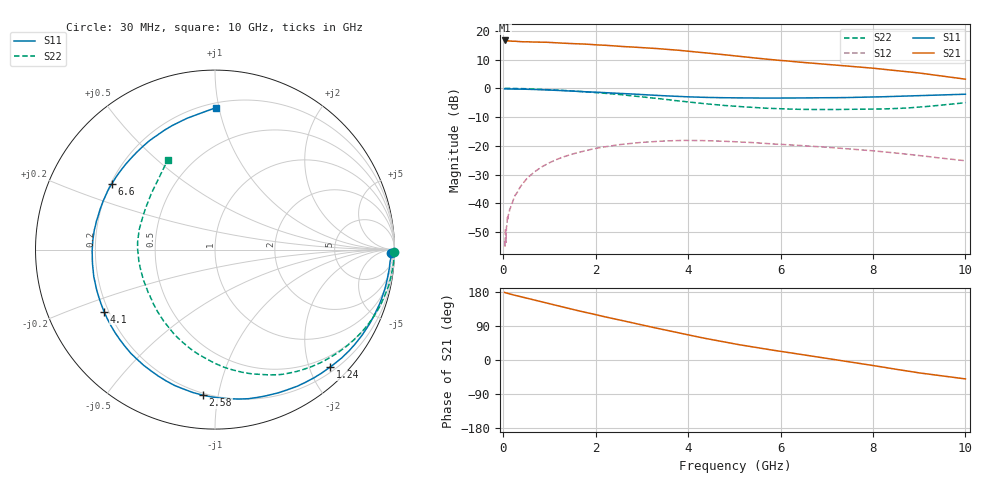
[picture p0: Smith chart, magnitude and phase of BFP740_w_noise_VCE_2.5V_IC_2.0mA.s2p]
! Infineon Technologies  Discrete & RF Semiconductors
! BFP740
! VCE =  2.5 V,  IC =  2.0 mA
! Common Emitter S-Parameters:  Jan 2016
# GHz  S  MA  R  50
!  f  S11  S21  S12  S22
! GHz  MAG  ANG  MAG  ANG  MAG  ANG  MAG  ANG
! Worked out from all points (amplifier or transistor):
!   229 points, 30 MHz to 10 GHz, reference 50 ohm
!   highest |S21| = 16.7 dB at 30 MHz (marker M1)
!   |S21| within 3 dB of that: start of sweep to 3.465 GHz
!   unconditionally stable (mu >= 1): 8.532 GHz to end of sweep
!   at 280 MHz: K = 0.05, MSG = 26.5 dB, |S12| = -36.7 dB
!   at 1.78 GHz: K = 0.17, MSG = 18.5 dB, |S12| = -21.7 dB
!   at 10 GHz: K = 1.31, MAG = 10.8 dB, |S12| = -25.2 dB
!   lowest NFmin = 0.46 dB at 450 MHz
!   S11 on the Smith chart (normalised r, x): 30 MHz: 52, -49; 1.24 GHz: 0.29, -2.35; 2.58 GHz: 0.19, -0.90; 4.1 GHz: 0.18, -0.25; 6.6 GHz: 0.20, +0.28; 10 GHz: 0.23, +0.98
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0.03  0.9797 -1.1  6.814 178.3  0.0022 83.9  0.9988 -0.8
0.04  0.98 -1.5  6.601 177.9  0.0018 89.0  0.9999 -1.1
0.05  0.9813 -1.8  6.724 177.8  0.0037 93.5  0.9985 -1.3
0.06  0.9801 -2.2  6.69 177.2  0.0021 82.0  0.9988 -1.6
0.07  0.9794 -2.6  6.706 176.9  0.0039 79.1  1 -1.9
0.09  0.9792 -3.4  6.67 176.1  0.0057 92.2  0.9996 -2.4
0.14  0.977 -5.2  6.638 174.4  0.0079 87.1  0.9978 -3.7
0.38  0.97 -14.1  6.501 166.9  0.0199 80.7  0.9898 -9.9
0.9  0.9431 -33.3  6.37 151.2  0.0462 66.2  0.9591 -23.2
1.24  0.9165 -45.6  6.144 140.9  0.0616 57.1  0.9277 -31.8
1.7  0.8791 -62.7  5.946 127.8  0.0795 45.7  0.8787 -43.1
2.2  0.843 -81.0  5.624 114.0  0.0962 33.8  0.8201 -55.6
2.58  0.8136 -94.7  5.358 103.9  0.1064 25.2  0.7722 -64.6
3.4  0.7494 -125.5  4.874 81.9  0.1207 7.3  0.6587 -85.3
4.1  0.7081 -150.8  4.359 63.8  0.1241 -7.2  0.5693 -103.9
4.7  0.688 -170.8  3.916 49.4  0.1208 -18.1  0.5112 -118.8
5.1  0.6831 178.0  3.62 40.5  0.1168 -24.5  0.483 -128.0
6.6  0.6816 147.4  2.788 11.7  0.0992 -42.4  0.4297 -161.7
6.8  0.6837 143.8  2.698 8.0  0.0971 -44.6  0.4289 -166.4
8.4  0.7226 112.9  2.087 -22.5  0.0764 -57.7  0.443 154.7
9  0.7479 102.1  1.851 -34.0  0.0679 -60.9  0.4729 138.6
10  0.7914 89.4  1.446 -49.9  0.0551 -60.1  0.5639 117.9
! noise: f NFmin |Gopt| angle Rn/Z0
0.45  0.46  0.57  13  0.36
0.9  0.48  0.58  20  0.35
1.5  0.55  0.56  30  0.33
1.9  0.59  0.53  44  0.32
2.4  0.63  0.53  51  0.31
3.5  0.77  0.49  75  0.29
5.5  1.07  0.36  151  0.25
10  1.84  0.61  -89  0.34
